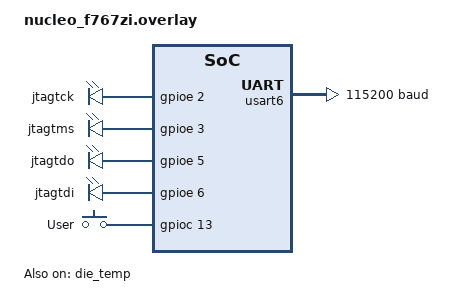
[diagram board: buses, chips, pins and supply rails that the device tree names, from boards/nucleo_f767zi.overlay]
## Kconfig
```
# SPDX-FileCopyrightText: © 2025-2026 Tenstorrent USA, Inc.
# SPDX-License-Identifier: Apache-2.0

mainmenu "WallaBMC"

# This UUID should not be changed, it is a namespace from which
# to generate other UUIDs for WallaBMC.
config WALLABMC_UUID_NS
	string
	default "6ae4c3c7-fff0-472a-a77c-6f3f5a09ee7c"

config APP_DNS_RESOLVE
	bool
	select REQUIRES_FULL_LIBC
	select NET_SOCKETS_SERVICE
	select DNS_RESOLVER
	select NET_DHCPV4_OPTION_DNS_ADDRESS
	# If DHCP is not enabled, then need these. For now, DNS/NTP
	# requires DHCP. Could make DNS configurable.
	select DNS_SERVER_IP_ADDRESSES
	select DNS_RECONFIGURE_CLEANUP

config DNS_SERVER1
	string
	default "1.1.1.1" if APP_DNS_RESOLVE

config APP_NTP
	bool "NTP time synchronisation"
	select SNTP
	select APP_DNS_RESOLVE
	# Could these options reduce our code?
	#CONFIG_NET_CONFIG_CLOCK_SNTP_INIT=y
	#CONFIG_NET_CONFIG_CLOCK_SNTP_SET_RTC=y
	default y

config MAIN_STACK_SIZE
	int
	default 4096 if PERSISTENT_STORAGE

config APP_CRYPTO
	bool
	select NET_SOCKETS_SOCKOPT_TLS
	select MBEDTLS
	select MBEDTLS_ENABLE_HEAP
	select MBEDTLS_SSL_PROTO_TLS1_2
	select MBEDTLS_SSL_ALPN
	# Curve-specific P-256 reduction, much faster TLS handshakes.
	select MBEDTLS_ECP_NIST_OPTIM if PSA_WANT_KEY_TYPE_ECC_KEY_PAIR_BASIC
	# XXX: Should HAVE_TIME_DATE be enabled? Test if it prevents HTTPS
	# connections if the RTC is wrong, in which case it might not be
	# feasible if we need webui to set time.
	# select MBEDTLS_HAVE_TIME_DATE if RTC

config APP_CRYPTO_TLS13
	bool
	default y
	depends on APP_CRYPTO && !APP_CRYPTO_PSK
	select MBEDTLS_SSL_PROTO_TLS1_3
        select MBEDTLS_SSL_TLS1_3_KEY_EXCHANGE_MODE_EPHEMERAL_ENABLED
	select MBEDTLS_SSL_TLS1_3_KEY_EXCHANGE_MODE_PSK_EPHEMERAL_ENABLED
	select MBEDTLS_SSL_EARLY_DATA
        select MBEDTLS_SSL_SESSION_TICKETS
	select PSA_WANT_ALG_HKDF
	select PSA_WANT_ALG_HKDF_EXTRACT
	select PSA_WANT_ALG_HKDF_EXPAND

config APP_CRYPTO_PUBLIC_KEY
	bool
	# Basic ciphers
	select MBEDTLS_CIPHERSUITE_TLS_ECDHE_ECDSA_WITH_AES_128_GCM_SHA256
	select PSA_WANT_ALG_SHA_256
	# Plus SHA384
	select PSA_WANT_ALG_SHA_384
	# Plus CHACHA20
	select PSA_WANT_ALG_CHACHA20_POLY1305
	select PSA_WANT_KEY_TYPE_CHACHA20
	# Required for websocket
	select PSA_WANT_ALG_SHA_1 if HTTP_SERVER_WEBSOCKET

# PSK can only use TLS1.2 (supporting 1.3 seems to require pulling in
# so much that it is not worthwhile).
config APP_CRYPTO_PSK
	bool
	select MBEDTLS_KEY_EXCHANGE_PSK_ENABLED # TLS1.2
	select MBEDTLS_CIPHERSUITE_TLS_PSK_WITH_AES_128_GCM_SHA256
	select MBEDTLS_KEY_EXCHANGE_RSA_PSK_ENABLED
	select MBEDTLS_RSA_C
	select MBEDTLS_PKCS1_V15
	select PSA_WANT_KEY_TYPE_RSA_KEY_PAIR_IMPORT
	select PSA_WANT_KEY_TYPE_RSA_KEY_PAIR_EXPORT
	select PSA_WANT_KEY_TYPE_RSA_KEY_PAIR_GENERATE

config APP_CRYPTO_DEBUG
	bool "crypto debug"
	default n
	select MBEDTLS_DEBUG
	select MBEDTLS_MEMORY_DEBUG
	select NET_SOCKETS_TLS_LOG_LEVEL_DBG

config MBEDTLS_DEBUG_LEVEL
	int
	depends on APP_CRYPTO_DEBUG
	default 1

config MBEDTLS_HEAP_SIZE
	int
	depends on APP_CRYPTO
	default 49152

config NET_PKT_RX_COUNT
	int
	depends on APP_CRYPTO
	default 32

config NET_PKT_TX_COUNT
	int
	depends on APP_CRYPTO
	default 32

config NET_BUF_RX_COUNT
	int
	default 96 if APP_CRYPTO
	default 64

config NET_BUF_TX_COUNT
	int
	default 96 if APP_CRYPTO
	default 64

config NET_SOCKETS_TLS_MAX_CONTEXTS
	int
	depends on APP_CRYPTO
	default 6

# The Kconfig comments for this option say TLS standards require
# 16k size, but this requires several 16K allocations each for
# send and recv on the heap so it's too large. Apparently browsers
# negotiate smaller sizes, so 1500 should be okay there. Redfish
# and curl with auth headers seem to require more (4096 works).
# may require more?
config MBEDTLS_SSL_IN_CONTENT_LEN
	int
	depends on APP_CRYPTO
	default 4096

config MBEDTLS_SSL_OUT_CONTENT_LEN
	int
	depends on APP_CRYPTO
	default 4096

config APP_HTTPS
	bool "HTTPS support for web and redfish"
	default y
	depends on REDFISH || APP_WEB
	select HTTP_SERVER_TLS_USE_ALPN
	select APP_CRYPTO

config APP_HTTPS_PUBLIC_KEY
	bool "HTTPS public key support"
	default y
	depends on APP_HTTPS
	select APP_CRYPTO_PUBLIC_KEY

config APP_HTTPS_PSK
	bool "HTTPS PSK support"
	default n
	depends on APP_HTTPS
	select APP_CRYPTO_PSK

config APP_BMC_UUID
	bool "BMC UUID based on HWINFO device ID"
	select MBEDTLS
	select MBEDTLS_PSA_CRYPTO_C
	select PSA_WANT_ALG_SHA_1
	select UUID
	select UUID_V5
	select HWINFO

config APP_SENSORS
	bool "BMC Sensors (temperature)"
	select SENSOR
	select ADC

config REDFISH
	bool "Redfish server"
	default y
	select HTTP_SERVER
	select HTTP_SERVER_CAPTURE_HEADERS
	select JSON_LIBRARY
	select APP_BMC_UUID
	select BASE64

if REDFISH

config REDFISH_SYSTEM_PRODUCT_NAME
	string "Redfish system product / board display name"
	default "WallaBMC Board"
	help
	  Shown as System Name in Redfish and in the dashboard System Overview.

config REDFISH_SYSTEM_MANUFACTURER
	string "Redfish system manufacturer"
	default "WallaBMC"

config REDFISH_SYSTEM_MODEL
	string "Redfish system model"
	default "Generic"

config REDFISH_SYSTEM_PROCESSOR_MODEL
	string "Redfish processor summary model"
	default "N/A"

config REDFISH_SYSTEM_PROCESSOR_COUNT
	int "Redfish processor summary count"
	default 1

config REDFISH_SYSTEM_MEMORY_GIB
	int "Redfish memory summary total (GiB)"
	default 0
	help
	  Total system memory in GiB for Redfish MemorySummary. 0 shows as N/A.

config HTTP_SERVER_MAX_HEADER_LEN
	int
	default 48 # Basic auth header + 15 character password is 34 characters

endif # REDFISH

config HTTP_SERVER_NUM_SERVICES
	int
	default 2 if APP_HTTPS # default 1 (listen on just 80)

config HTTP_SERVER_MAX_CLIENTS
	int
	default 8 if APP_WEB

config APP_WEB
	bool "Web server"
	default y
	select HTTP_SERVER
	select REDFISH

config APP_WEB_TERMINAL
	bool "Websocket consoles and webui terminal emulator"
	default y
	select APP_WEB
	select HTTP_SERVER_WEBSOCKET
	# WS auth protocol requires these hashes
	select BASE64
	select MBEDTLS_SHA1

config APP_WEB_TERMINAL_BMC_SHELL
	bool "Zephyr shell websocket and webui terminal"
	default y
	depends on APP_WEB_TERMINAL
	select SHELL
	select SHELL_BACKEND_WEBSOCKET
	select LOG_BACKEND_WS
	select LOG_BACKEND_WS_AUTOSTART

config APP_WEB_TERMINAL_HOST_SERIAL
	bool "Host serial websocket and webui terminal"
	default y
	select APP_CONSOLE_LOGGER
	depends on APP_WEB_TERMINAL

if APP_WEB_TERMINAL_HOST_SERIAL
config CONSOLE_BRIDGE_WS_STACK_SIZE
	int
	default 4096 if APP_HTTPS
	default 2048

config CONSOLE_BRIDGE_WS_PRIORITY
	int
	default 5
endif

config SHELL_WEBSOCKET_ENDPOINT_URL
	string
	depends on SHELL_BACKEND_WEBSOCKET
	default "console/bmc"

config DEFAULT_ADMIN_PASSWORD
	string "Default admin password"
	default "$(shell,openssl rand -base64 12 | head -c 15)"

config SYSTEM_WORKQUEUE_STACK_SIZE
	int
	depends on HTTP_SERVER_WEBSOCKET
	default 2560 if APP_HTTPS
	default 1536

# WS log backend uses lot of stack
config LOG_PROCESS_THREAD_STACK_SIZE
	int
	depends on LOG_BACKEND_WS
	default 2560

config NET_TCP_MAX_RECV_WINDOW_SIZE
	int
	default 20480

# Increase retry and timeout limits
config NET_TCP_INIT_RETRANSMISSION_TIMEOUT
	int
	default 500

config NET_TCP_RETRY_COUNT
	int
	default 10

config SHELL_STACK_SIZE
	int
	depends on SHELL_BACKEND_WEBSOCKET
	default 3072

config HTTP_SERVER_STACK_SIZE
	int
	depends on LOG_BACKEND_WS
	default 4096

config NET_SOCKETS_SERVICE_STACK_SIZE
	int
	default 3072 if APP_CRYPTO
	default 1536

config NET_MAX_CONTEXTS
	int
	depends on HTTP_SERVER
	default 12

config NET_MAX_CONN
	int
	depends on HTTP_SERVER
	default 16

config ZVFS_EVENTFD_MAX
	int
	depends on HTTP_SERVER
	default 4

config ZVFS_POLL_MAX
	int
	depends on HTTP_SERVER
	default 8

config PERSISTENT_STORAGE
	bool "Persistent storage for config"
	default n
	# Enable Flash and Flash Map to access memory
	select FLASH
	select FLASH_MAP
	# select FLASH_SHELL if SHELL # ~4kB flash
	# STM32 internal flash is also XIP, so the flash driver has to be
	# relocated into RAM to write it. ESP32's flash driver disables
	# the XIP cache internally, so no relocation is needed there.
	select CODE_DATA_RELOCATION_SRAM if SOC_FLASH_STM32
	# XXX: May need to enable these, or disable IRQs in the flash
	# erase and program functions while flash is being written.
	# select SRAM_VECTOR_TABLE
	# select SRAM_SW_ISR_TABLE
	# select DEVICE_MUTABLE
	# Enable NVS key-value system
	select NVS
	select NVS_INIT_BAD_MEMORY_REGION # Do not require erased flash

config REBOOT
	bool
	default y

config POWEROFF
	bool
	default y if HAS_POWEROFF

config APP_HOST_POWER_PULSE
	bool "Host power pin uses momentary-button (pulse) semantics"
	default n
	help
	  When set, `power on` / `power off` send a short press on the
	  host power GPIO instead of holding it at a sustained level,
	  and `power force-off` / Redfish ForceOff hold it for a long
	  press. Use for boards with an ATX-style momentary power
	  button input.

	  A momentary button gives the BMC no feedback. Without a
	  host-power-good input the BMC cannot tell whether the host is
	  on: `power on` / `power off` / Redfish On always press (a
	  short press toggles, so On sent to a running host asks it to
	  shut down), force-off and PowerCycle always hold the long
	  press first, and host auto power-on is ignored at BMC boot
	  because the press could shut down a host that is already
	  running. Redfish then reports PowerState as null (the web UI
	  shows Unknown) and `power state` reports unknown.

	  To fix that, wire the host's power-good (PWROK) output to a
	  GPIO and point the host-power-good devicetree alias at it.
	  The BMC then reports what the input reads, skips an on, off
	  or force-off press when the host already reads that state,
	  refuses a reset when the host reads off, and presses at BMC
	  boot for host auto power-on only when the host reads off.

	  Without this, the GPIO is driven to a sustained level (the
	  legacy nucleo LED-as-power-stand-in behaviour).

config APP_HOST_POWER_PULSE_MS
	int "Short-press duration for power on/off (ms)"
	default 200
	depends on APP_HOST_POWER_PULSE

config APP_HOST_POWER_FORCE_OFF_MS
	int "Long-press duration for power force-off (ms)"
	default 6000
	depends on APP_HOST_POWER_PULSE
	help
	  The thread that asked for the force-off sleeps through the
	  press; for Redfish that is the HTTP server thread. Keep this
	  plus the 2 s PowerCycle gap below
	  HTTP_SERVER_CLIENT_INACTIVITY_TIMEOUT (default 10 s) or other
	  HTTP clients are dropped while the button is held.

config APP_WIFI
	bool "Connect to Wi-Fi at boot from BMC config"
	select WIFI
	select NET_L2_WIFI_MGMT
	help
	  Enable Wi-Fi support. Default SSID and password can be set by
	  updating config or passing cmdline build options (see README.md).
	  SSID and password can be changed and persisted in nonvolatile
	  configuration.

config APP_WIFI_DISABLE_POWER_SAVING
	bool "Wi-Fi disable power saving"
	depends on APP_WIFI
	help
	  Disable WIFI Power Saving, can be set by board config.

config DEFAULT_WIFI_SSID
	string "Default WiFi SSID (blank for none)"
	depends on APP_WIFI
	default ""

config DEFAULT_WIFI_PASSWORD
	string "Default WiFi password (blank for none)"
	depends on APP_WIFI
	default ""

config JTAG
	bool "JTAG support"
	depends on $(dt_path_enabled,/jtag)
	default y

if JTAG

config JTAG_DAEMON_STACK_SIZE
	int "JTAG daemon stack size"
	default 1024

config JTAG_DAEMON_PRIORITY
	int "JTAG daemon priority"
	default 5

endif

# use `kernel thread stack` shell command
config APP_STACK_DEBUG
	bool
	default n
	select THREAD_NAME
	select THREAD_ANALYZER
	select THREAD_ANALYZER_RUN_UNLOCKED

config APP_CONSOLE_LOGGER
	bool "Console logger (capture host console uart)"
	default y
	select SERIAL
	select UART_INTERRUPT_DRIVEN

if APP_CONSOLE_LOGGER
config APP_CONSOLE_LOG_SIZE
	int "Console log size"
	range 64 65536
	default 2048
endif

config CONSOLE_BRIDGE
	bool "Console bridge (host console to TCP port 22)"
	default y
	depends on APP_CONSOLE_LOGGER

if CONSOLE_BRIDGE

config CONSOLE_BRIDGE_STACK_SIZE
	int "Console bridge daemon stack size"
	default 1024

config CONSOLE_BRIDGE_PRIORITY
	int "Console bridge daemon priority"
	default 5

endif

source "Kconfig.zephyr"
```

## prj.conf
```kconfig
# Respect flash partition layout
CONFIG_USE_DT_CODE_PARTITION=y

# Kernel options
CONFIG_BOOT_BANNER=n # Do our own banner
CONFIG_EARLY_CONSOLE=y
CONFIG_INIT_STACKS=y

CONFIG_POSIX_API=y

# Net debug
#CONFIG_NET_SOCKETS_LOG_LEVEL_DBG=y
#CONFIG_SNTP_LOG_LEVEL_DBG=y
#CONFIG_NET_LOG=y

CONFIG_RTC=y

# Logging
CONFIG_LOG=y
#CONFIG_LOG_DEFAULT_LEVEL=0
CONFIG_LOG_PRINTK=n
# CONFIG_NET_LOG=y # ~10kB flash
CONFIG_PHY_LOG_LEVEL_WRN=y

# Generic networking options
CONFIG_NETWORKING=y
CONFIG_NET_IPV4=y
CONFIG_NET_IPV6=n
CONFIG_NET_ARP=y
CONFIG_NET_UDP=y
CONFIG_NET_TCP=y

# IP address options
# 2 addresses so we can have a DHCP and an overridable static */
CONFIG_NET_CONFIG_AUTO_INIT=n
CONFIG_NET_IF_UNICAST_IPV4_ADDR_COUNT=2
CONFIG_NET_DHCPV4=y
CONFIG_NET_DHCPV4_OPTION_CALLBACKS=y
#CONFIG_DNS_RESOLVER=y # This makes telnet console hang?
# Hostname will be registered with DHCP so if the network supports it,
# it will be the DNS name too. UNIQUE=y appends a random UUID to the
# end of HOSTNAME, you will need to watch the console to get this, or
# give yourself a unique hostname.
CONFIG_NET_CONFIG_SETTINGS=y
CONFIG_NET_HOSTNAME_ENABLE=y
CONFIG_NET_HOSTNAME="wallabmc"
CONFIG_NET_HOSTNAME_DYNAMIC=y
# Don't want to append a unique string because that makes it hard to
# find.
#CONFIG_NET_HOSTNAME_UNIQUE=y
# default / no-DHCP IP address
#CONFIG_NET_CONFIG_MY_IPV4_ADDR="192.168.2.55"

# `date set` does not set the RTC which would be confusing, so
# disable it. We supply `bmc time` commands.
CONFIG_DATE_SHELL=n
# local/network shell
CONFIG_KERNEL_SHELL=n # ~5kB flash
#CONFIG_SHELL_TAB=y
#CONFIG_NET_SHELL=y # ~40kB flash

# GPIO options
CONFIG_GPIO=y

### Storage ###
CONFIG_PERSISTENT_STORAGE=y

# Websocket default prompt (does not enable anything on it's own)
CONFIG_SHELL_WEBSOCKET_PROMPT="bmc:~$ "
```

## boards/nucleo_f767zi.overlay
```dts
/delete-node/ &quadspi_memory;

// Nucleo F767ZI
/ {
    chosen {
        zephyr,rtc = &rtc;
    };

    jtag {
        // What is a better setting for this?
        compatible = "gpio-leds";

        jtagtck: jtag_tck {
            gpios = <&gpioe  2 GPIO_ACTIVE_HIGH>;
        };
        jtagtms: jtag_tms {
            gpios = <&gpioe  3 GPIO_ACTIVE_HIGH>;
        };
        jtagtdo: jtag_tdo {
            gpios = <&gpioe  5     GPIO_PULL_UP>;
        };
        jtagtdi: jtag_tdi {
            gpios = <&gpioe  6 GPIO_ACTIVE_HIGH>;
        };
    };

    // Zephyr configures ACTIVE_LOW by default, which reads 0 when the
    // button is pressed and 1 when it is released. Flip to 1 on press.
    gpio_keys {
        compatible = "gpio-keys";

        user_button: button_0 {
            label = "User";
            gpios = <&gpioc 13 GPIO_ACTIVE_HIGH>;
            zephyr,code = <INPUT_KEY_0>;
        };
    };

    aliases {
        jtagtck = &jtagtck;
        jtagtms = &jtagtms;
        jtagtdi = &jtagtdi;
        jtagtdo = &jtagtdo;

        power-led = &green_led;
        status-led = &blue_led;

        reset-button = &user_button;
	host-console-uart = &usart6;
    };
};

&spi4 {
     status = "disabled";
};

&die_temp {
    status = "okay";
};

&usart6 {
	current-speed = <115200>;
	status = "okay";
};

/delete-node/ &boot_partition;
/delete-node/ &storage_partition;
/delete-node/ &slot0_partition;
/delete-node/ &slot1_partition;
/delete-node/ &scratch_partition;

&flash0 {
    partitions {
        #address-cells = <1>;
        #size-cells = <1>;

        boot_partition: partition@0 {
            compatible = "zephyr,mapped-partition";
            label = "mcuboot";
            reg = <0x00000000 DT_SIZE_K(32)>;
        };

        /* 3*32KB, enough for NVS storage */
        storage_partition: partition@8000 {
            compatible = "zephyr,mapped-partition";
            label = "storage";
            reg = <0x00008000 DT_SIZE_K(96)>;
        };

        slot0_partition: partition@20000 {
            compatible = "zephyr,mapped-partition";
            label = "image-0";
            reg = <0x00020000 DT_SIZE_K(1024)>;
        };
    };
};
```

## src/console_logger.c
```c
/*
 * SPDX-FileCopyrightText: © 2025-2026 Tenstorrent USA, Inc.
 * SPDX-License-Identifier: Apache-2.0
 */

#include <zephyr/kernel.h>

#include <zephyr/logging/log.h>
LOG_MODULE_REGISTER(console_logger, LOG_LEVEL_INF);

#include <zephyr/spinlock.h>
#include <zephyr/drivers/uart.h>
#include <zephyr/drivers/gpio.h>
#include <errno.h>
#include <string.h>

#include "synch.h"
#include "console_logger.h"

#define UART_NODE DT_ALIAS(host_console_uart)
static const struct device *uart_dev = DEVICE_DT_GET(UART_NODE);

BUILD_ASSERT(DT_NODE_EXISTS(UART_NODE), "host-console-uart node missing");

/* UART mux select GPIO from device tree */
#define UARTMUXSEL_NODE DT_ALIAS(host_console_uart_muxsel)
#if DT_NODE_EXISTS(UARTMUXSEL_NODE)
static const struct gpio_dt_spec host_console_uart_muxsel_gpio = GPIO_DT_SPEC_GET(UARTMUXSEL_NODE, gpios);
#endif

struct console_log {
	const struct device *uart;
	bool enabled;
	uint64_t received;
	int size;
	struct k_spinlock rx_lock;

	/* TX is serialized by tx_mutex; tx_done is given by the IRQ when
	 * the pending buffer has been fully pushed to the FIFO.
	 */
	struct k_mutex tx_mutex;
	struct k_sem tx_done;
	const uint8_t *tx_buf;
	size_t tx_len;
	size_t tx_pos;

	uint8_t *log_buffer;
};

static struct console_log host_console_log;

static uint8_t log_buffer[CONFIG_APP_CONSOLE_LOG_SIZE];

/* Delay notifying console readers of new data to coalesce data */
/*
 * TODO: NTP puts long running blocking work on the system workqueue
 * which could block the coalescing delay wakeup and cause the console
 * to hang for long periods. So set this to 0 for now (no delay) until
 * NTP blocking work is moved to another workqueue.
 */
#define RX_DELAY_TIME_MS 0

static void rx_data_work_fn(struct k_work *work)
{
	k_event_post(&events, EVENT_CONSOLE_LOG_DATA);
}

static K_WORK_DELAYABLE_DEFINE(rx_data_work, rx_data_work_fn);

static void uart_isr_cb(const struct device *dev, void *user_data)
{
	struct console_log *log = user_data;

	for (;;) {
		uart_irq_update(dev);
		if (!uart_irq_is_pending(dev))
			break;

		if (uart_irq_rx_ready(dev) > 0) {
			/*
			 * uart_fifo_read() must read all data from FIFO after
			 * uart_irq_rx_ready() returns true.
			 */
			for (;;) {
				k_spinlock_key_t key = k_spin_lock(&log->rx_lock);
				size_t off = log->received % log->size;
				size_t size = log->size - off;
				int nr = uart_fifo_read(dev, log->log_buffer + off, size);
				if (nr > 0)
					log->received += (size_t)nr;
				k_spin_unlock(&log->rx_lock, key);
				if (nr < 0 || (size_t)nr < size) /* short/zero reads and -ve errors */
					break;
			}
			if (RX_DELAY_TIME_MS)
				k_work_schedule(&rx_data_work, K_MSEC(RX_DELAY_TIME_MS));
			else
				k_event_post(&events, EVENT_CONSOLE_LOG_DATA);
		}

		if (uart_irq_tx_ready(dev) > 0) {
			if (log->tx_pos < log->tx_len) {
				int nr = uart_fifo_fill(dev, log->tx_buf + log->tx_pos,
							log->tx_len - log->tx_pos);
				if (nr > 0)
					log->tx_pos += nr;
			}
			if (log->tx_pos >= log->tx_len) {
				uart_irq_tx_disable(dev);
				k_sem_give(&log->tx_done);
			}
		}
	}
}

static ssize_t console_log_read(struct console_log *log, uint8_t *buf, size_t size, uint64_t *ppos)
{
	uint64_t pos = *ppos;
	uint64_t start;
	int off, len;
	k_spinlock_key_t key;
	ssize_t ret = 0;
	size_t copied = 0;

	if (!host_console_available())
		return -ENODEV;

	key = k_spin_lock(&log->rx_lock);
	if (pos > log->received) {
		ret = -EINVAL;
		goto out;
	}

	if (log->received < log->size) {
		start = 0;
	} else {
		start = log->received - log->size;
	}

	if (start > pos)
		pos = start; /* lost characters, advance pos */

	while (copied < size) {
		off = pos % log->size;
		len = MIN(log->received - pos, log->size - off);
		len = MIN(len, size - copied);
		if (len == 0)
			break;
		memcpy(buf + copied, log->log_buffer + off, len);
		pos += len;
		copied += len;
	}

out:
	k_spin_unlock(&log->rx_lock, key);

	*ppos = pos;

	return copied ? copied : ret;
}

static ssize_t console_log_write(struct console_log *log, const uint8_t *buf, size_t size)
{
	if (!host_console_available())
		return -ENODEV;

	k_mutex_lock(&log->tx_mutex, K_FOREVER);

	log->tx_buf = buf;
	log->tx_len = size;
	log->tx_pos = 0;
	k_sem_reset(&log->tx_done);

	uart_irq_tx_enable(log->uart);
	k_sem_take(&log->tx_done, K_FOREVER);

	log->tx_buf = NULL;
	log->tx_len = 0;
	log->tx_pos = 0;

	k_mutex_unlock(&log->tx_mutex);
	return size;
}

ssize_t host_console_read(uint8_t *buf, size_t size, uint64_t *ppos)
{
	struct console_log *log = &host_console_log;
	return console_log_read(log, buf, size, ppos);
}

int host_console_seek_end(uint64_t *ppos)
{
	struct console_log *log = &host_console_log;
	k_spinlock_key_t key;

	if (!host_console_available())
		return -ENODEV;

	key = k_spin_lock(&log->rx_lock);
	*ppos = log->received;
	k_spin_unlock(&log->rx_lock, key);

	return 0;
}

ssize_t host_console_write(const uint8_t *buf, size_t size)
{
	struct console_log *log = &host_console_log;

	return console_log_write(log, buf, size);
}

static const struct uart_config uart_cfg = {
	.baudrate = 115200,
	.parity = UART_CFG_PARITY_NONE,
	.stop_bits = UART_CFG_STOP_BITS_1,
	.data_bits = UART_CFG_DATA_BITS_8,
	.flow_ctrl = UART_CFG_FLOW_CTRL_NONE,
};

bool host_console_available(void)
{
	struct console_log *log = &host_console_log;

	return log->enabled;
}

int console_logger_init(void)
{
	struct console_log *log = &host_console_log;
	int ret;

	LOG_INF("Starting host console logger");

	if (!device_is_ready(uart_dev)) {
		LOG_ERR("UART device not ready");
		return -1;
	}

	log->uart = uart_dev;
	log->size = sizeof(log_buffer);
	k_mutex_init(&log->tx_mutex);
	k_sem_init(&log->tx_done, 0, 1);
	log->log_buffer = log_buffer;

#if DT_NODE_EXISTS(UARTMUXSEL_NODE)
	/* Initialize host_console_uart_muxsel GPIO */
	if (!gpio_is_ready_dt(&host_console_uart_muxsel_gpio)) {
		LOG_ERR("host_console_uart_muxsel GPIO device not ready");
		return -1;
	}

	ret = gpio_pin_configure_dt(&host_console_uart_muxsel_gpio, GPIO_OUTPUT_INACTIVE);
	if (ret < 0) {
		LOG_ERR("Failed to configure host_console_uart_muxsel GPIO: %d", ret);
		return ret;
	}

	gpio_pin_set_dt(&host_console_uart_muxsel_gpio, 1);
	LOG_INF("host_console_uart_muxsel GPIO set");
#endif

	ret = uart_configure(uart_dev, &uart_cfg);
	if (ret < 0) {
		LOG_ERR("UART configure failed: %d", ret);
		return -1;
	}

	ret = uart_irq_callback_user_data_set(uart_dev, uart_isr_cb, log);
	if (ret < 0) {
		LOG_ERR("Failed to set UART IRQ callback: %d", ret);
		return ret;
	}

	uart_irq_rx_enable(uart_dev);

	log->enabled = true;

	LOG_INF("UART IRQ configured for console logger");

	return 0;
}
```
